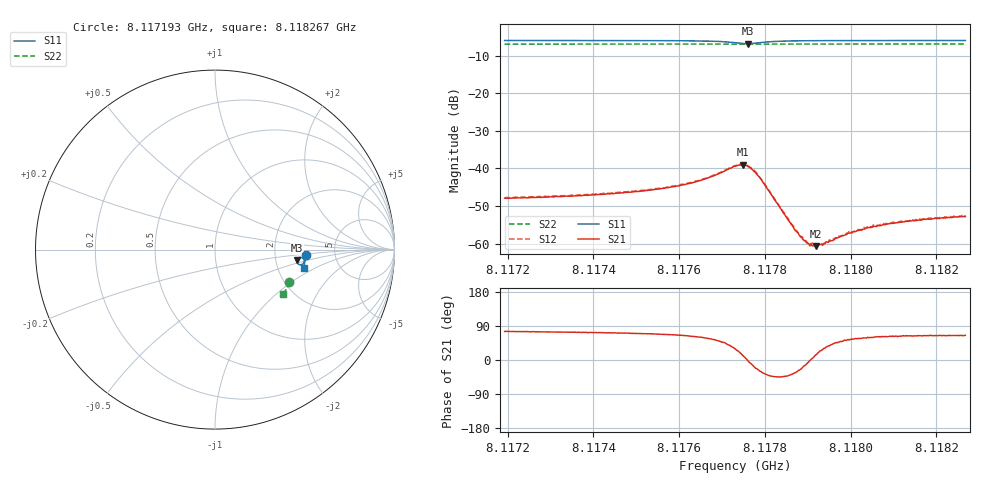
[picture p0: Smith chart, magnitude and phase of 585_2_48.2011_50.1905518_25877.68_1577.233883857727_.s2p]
#  HZ  S  RI  R  50.00
! Rohde & Schwarz Vector Network Analyzer
! Rohde-Schwarz,ZNB20-2Port,1311601062101988,3.16
! Created: UTC 3/20/2024, 12:02:15 PM
! freq[Hz]  re:S11  im:S11  re:S21  im:S21  re:S12  im:S12  re:S22  im:S22
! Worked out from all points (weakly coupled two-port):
!   401 points, 8.117193 GHz to 8.118267 GHz, reference 50 ohm
!   highest |S21| = -39.02 dB at 8.117749 GHz (marker M1); lowest = -60.7 dB at 8.117918 GHz (marker M2)
!   lowest |S11| = -6.8 dB at 8.11776 GHz (marker M3), VSWR 2.70, Z = 131 - j20.1 ohm
!   |S11| at or under -10 dB: nowhere
!   |S22| runs from -6.9 to -6.8 dB; largest |S21 - S12| = 0.00038
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8.1171932e9  0.5058 -0.0304  0.00102 0.0039  0.00108 0.00394  0.4142 -0.1812
8.1173731e9  0.5041 -0.0454  0.00129 0.00415  0.00134 0.00423  0.4093 -0.193
8.1174993e9  0.5018 -0.0571  0.00169 0.00463  0.00172 0.0047  0.4058 -0.2011
8.117553e9  0.5003 -0.0628  0.00198 0.00496  0.00201 0.00506  0.404 -0.2046
8.1176041e9  0.498 -0.069  0.00251 0.00542  0.0026 0.00556  0.4025 -0.208
8.1176551e9  0.4929 -0.0768  0.00362 0.00611  0.00372 0.0062  0.4007 -0.2112
8.1177303e9  0.4659 -0.0823  0.00926 0.00532  0.00953 0.00534  0.3972 -0.2156
8.1177491e9  0.4558 -0.0708  0.011 0.00216  0.0112 0.00223  0.3963 -0.2161
8.1177598e9  0.4549 -0.0606  0.0107 -0.000194  0.011 -0.000208  0.3962 -0.2163
8.1177733e9  0.4608 -0.0495  0.00895 -0.00251  0.00922 -0.00271  0.3962 -0.2167
8.1177867e9  0.4705 -0.0439  0.00684 -0.00356  0.00678 -0.00382  0.3962 -0.2174
8.1178565e9  0.4955 -0.056  0.00151 -0.00127  0.00155 -0.00131  0.3951 -0.2224
8.117878e9  0.4973 -0.0605  0.0012 -0.000639  0.00119 -0.000674  0.3944 -0.2239
8.1178941e9  0.4981 -0.0632  0.00105 -0.000257  0.00106 -0.000263  0.3941 -0.2251
8.1179102e9  0.4986 -0.0658  0.00093 6.6e-05  0.00102 6.03e-05  0.3934 -0.226
8.1179183e9  0.4987 -0.067  0.000897 0.000213  0.000964 0.00021  0.3933 -0.2264
8.1179344e9  0.499 -0.0694  0.000839 0.000434  0.000873 0.000459  0.3927 -0.2275
8.1179908e9  0.499 -0.0761  0.000809 0.00104  0.000823 0.0011  0.391 -0.2312
8.1180338e9  0.4987 -0.0808  0.000831 0.00134  0.000804 0.00136  0.3896 -0.2339
8.1180902e9  0.4981 -0.086  0.000851 0.00163  0.000884 0.00166  0.3875 -0.2374
8.1181735e9  0.4969 -0.0933  0.000919 0.0019  0.00094 0.00192  0.3847 -0.2424
8.1182675e9  0.4955 -0.1011  0.000966 0.00207  0.00102 0.0021  0.3813 -0.2481
